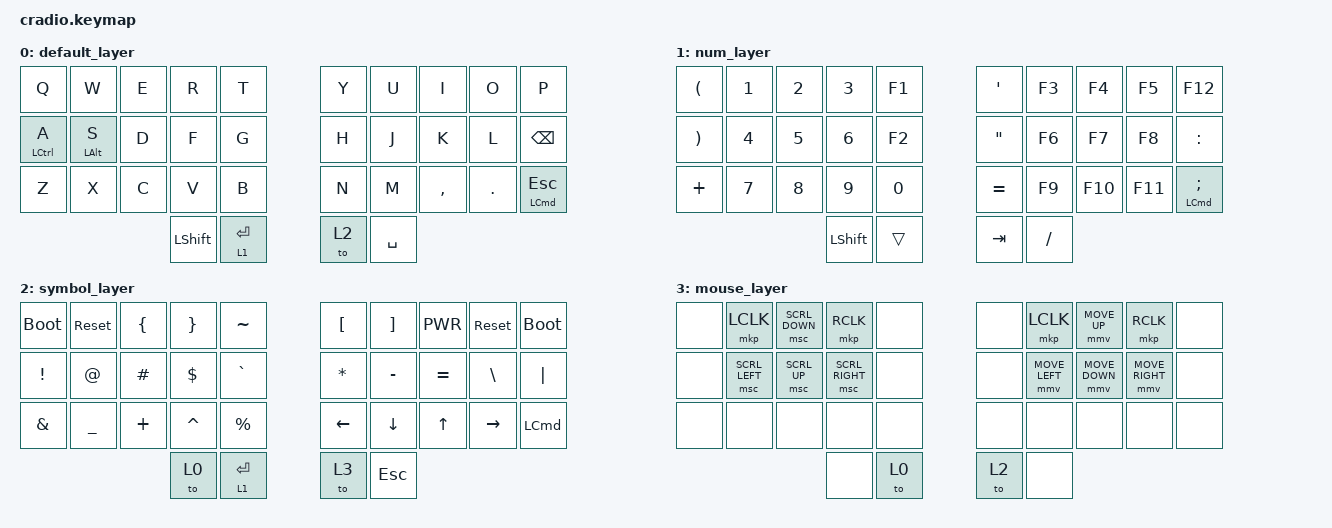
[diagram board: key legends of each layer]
// Copyright (c) 2022 The ZMK Contributors
// SPDX-License-Identifier: MIT

#include <behaviors.dtsi>
#include <dt-bindings/zmk/keys.h>
#include <dt-bindings/zmk/pointing.h>

/ {
    keymap {
        compatible = "zmk,keymap";

        default_layer {
            bindings = <
        //╭──────────┬──────────┬──────────┬──────────┬──────────╮   ╭──────────┬──────────┬──────────┬──────────┬──────────╮
        //│  Q       │  W       │  E       │  R       │  T       │   │  Y       │  U       │  I       │  O       │  P       │
            &kp Q      &kp W      &kp E      &kp R      &kp T          &kp Y      &kp U      &kp I      &kp O      &kp P
        //├──────────┼──────────┼──────────┼──────────┼──────────┤   ├──────────┼──────────┼──────────┼──────────┼──────────┤
        //│  A       │  S       │  D       │  F       │  G       │   │  H       │  J       │  K       │  L       │          │
           &mt LCTRL A &mt LALT S  &kp D      &kp F     &kp G          &kp H       &kp J      &kp K      &kp L     &kp BSPC
        //├──────────┼──────────┼──────────┼──────────┼──────────┤   ├──────────┼──────────┼──────────┼──────────┼──────────┤
        //│  Z       │  X       │  C       │  V       │  B       │   │  N       │  M       │ , <      │ . >      │          │
            &kp Z      &kp X      &kp C      &kp V      &kp B          &kp N      &kp M      &kp COMMA  &kp DOT    &mt LCMD ESC
        //╰──────────┴──────────┴──────────┼──────────┼──────────┤   ├──────────┼──────────┼──────────┴──────────┴──────────╯
                                            &kp LSHIFT &lt 1 ENTER       &to 2    &kp SPACE
        //                                 ╰──────────┴──────────╯   ╰──────────┴──────────╯
            >;
        };

        num_layer {
            bindings = <
        //╭──────────┬──────────┬──────────┬──────────┬──────────╮   ╭──────────┬──────────┬──────────┬──────────┬──────────╮
        //│ (        │  1       │  2       │  3       │          │   │      '   │          │          │          │          │
            &kp LPAR   &kp N1     &kp N2     &kp N3     &kp F1         &kp SQT   &kp F3     &kp F4      &kp F5     &kp F12
        //├──────────┼──────────┼──────────┼──────────┼──────────┤   ├──────────┼──────────┼──────────┼──────────┼──────────┤
        //│ )        │  4       │  5       │  6       │          │   │      "   │          │          │          │  :       │
            &kp RPAR   &kp N4     &kp N5     &kp N6     &kp F2         &kp DQT   &kp F6      &kp F7     &kp F8      &kp COLON
        //├──────────┼──────────┼──────────┼──────────┼──────────┤   ├──────────┼──────────┼──────────┼──────────┼──────────┤
        //│ +        │  7       │  8       │  9       │  0       │   │          │          │          │          │  ;       │
            &kp PLUS   &kp N7     &kp N8     &kp N9     &kp N0         &kp EQUAL  &kp F9     &kp F10    &kp F11     &mt LCMD SEMI
        //╰──────────┴──────────┴──────────┼──────────┼──────────┤   ├──────────┼──────────┼──────────┴──────────┴──────────╯
                                            &kp LSHIFT  &trans         &kp TAB    &kp FSLH
        //                                 ╰──────────┴──────────╯   ╰──────────┴──────────╯
            >;
        };

        symbol_layer {
            bindings = <
        //╭──────────┬──────────┬──────────┬──────────┬──────────╮   ╭──────────┬──────────┬──────────┬──────────┬──────────╮
        //│          │          │  {       │  }       │  ~       │   │    [     │    ]     │          │          │          │
          &bootloader &sys_reset  &kp LBRC   &kp RBRC  &kp TILDE      &kp LBKT   &kp RBKT    &kp K_PWR  &sys_reset &bootloader
        //├──────────┼──────────┼──────────┼──────────┼──────────┤   ├──────────┼──────────┼──────────┼──────────┼──────────┤
        //│  !       │  @       │  #       │  $       │  `       │   │  *       │  -       │  =       │  \       │  |       │
            &kp EXCL   &kp AT     &kp HASH   &kp DLLR   &kp GRAVE      &kp ASTRK  &kp MINUS  &kp EQUAL  &kp BSLH   &kp PIPE
        //├──────────┼──────────┼──────────┼──────────┼──────────┤   ├──────────┼──────────┼──────────┼──────────┼──────────┤
        //│       &  │      _   │      +   │     ^    │  %       │   │          │          │          │          │          │
            &kp AMPS  &kp UNDER   &kp PLUS   &kp CARET  &kp PRCNT      &kp LEFT   &kp DOWN   &kp UP   &kp RIGHT    &kp LCMD
        //╰──────────┴──────────┴──────────┼──────────┼──────────┤   ├──────────┼──────────┼──────────┴──────────┴──────────╯
                                             &to  0    &lt 1 ENTER      &to 3     &kp ESC
        //                                 ╰──────────┴──────────╯   ╰──────────┴──────────╯
            >;
        };

        mouse_layer {
            bindings = <
        //╭──────────┬──────────┬──────────┬──────────┬──────────╮   ╭──────────┬──────────┬──────────┬──────────┬──────────╮
        //│          │          │          │          │          │   │          │          │          │          │          │
            &none     &mkp LCLK &msc SCRL_DOWN &mkp RCLK &none         &none    &mkp LCLK  &mmv MOVE_UP &mkp RCLK   &none
        //├──────────┼──────────┼──────────┼──────────┼──────────┤   ├──────────┼──────────┼──────────┼──────────┼──────────┤
        //│          │          │  #       │  $       │  %       │   │  *       │  -       │          │          │          │
           &none &msc SCRL_LEFT &msc SCRL_UP &msc SCRL_RIGHT &none    &none &mmv MOVE_LEFT &mmv MOVE_DOWN &mmv MOVE_RIGHT &none
        //├──────────┼──────────┼──────────┼──────────┼──────────┤   ├──────────┼──────────┼──────────┼──────────┼──────────┤
        //│          │          │          │          │          │   │  &       │  _       │          │          │          │
            &none       &none      &none      &none      &none          &none      &none      &none      &none      &none
        //╰──────────┴──────────┴──────────┼──────────┼──────────┤   ├──────────┼──────────┼──────────┴──────────┴──────────╯
                                             &none      &to 0         &to 2     &none
        //                                 ╰──────────┴──────────╯   ╰──────────┴──────────╯
            >;
        };
    };
};
